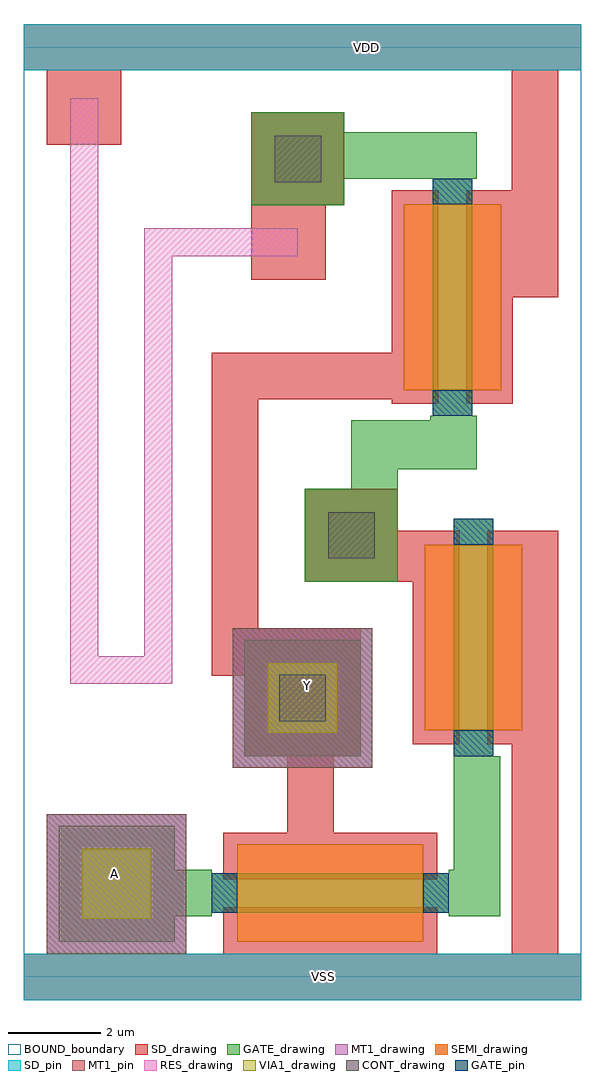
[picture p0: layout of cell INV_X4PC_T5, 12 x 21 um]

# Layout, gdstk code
from math import pi, radians
import gdstk
lib = gdstk.Library(unit=1e-6, precision=1e-09)
def R(c, l, rs):  # rectangles x0, y0, x1, y1
    for r in rs: c.add(gdstk.rectangle(r[:2], r[2:], *l))
def P(c, l, *ps):  # polygons
    for p in ps: c.add(gdstk.Polygon(p, *l))
RES_drawing = (1, 0)
SEMI_drawing = (3, 0)
SD_drawing = (10, 0)
SD_pin = (10, 3)
GATE_drawing = (11, 0)
GATE_pin = (11, 3)
MT1_drawing = (20, 0)
MT1_pin = (20, 3)
CONT_drawing = (30, 0)
VIA1_drawing = (41, 0)
BOUND_boundary = (150, 5)

nch_cdns_772544925370 = lib.new_cell('nch_CDNS_772544925370')
R(nch_cdns_772544925370, SEMI_drawing, [(-1.05,-2,1.05,2)])
R(nch_cdns_772544925370, SD_drawing, [(-1.3,-2.3,-0.3,2.3), (0.3,-2.3,1.3,2.3)])
R(nch_cdns_772544925370, GATE_drawing, [(-0.425,-2.55,0.425,2.55)])
R(nch_cdns_772544925370, GATE_pin, [(-0.425,-2.55,0.425,-2), (-0.425,2,0.425,2.55)])

sd_gate_cdns_77254492537 = lib.new_cell('SD_GATE_CDNS_772544925370')
R(sd_gate_cdns_77254492537, SD_drawing, [(-1,-1,1,1)])
R(sd_gate_cdns_77254492537, GATE_drawing, [(-1,-1,1,1)])
R(sd_gate_cdns_77254492537, CONT_drawing, [(-0.5,-0.5,0.5,0.5)])

c_sd_gate_cdns_77254492537 = lib.new_cell('SD_GATE_CDNS_772544925371')
R(c_sd_gate_cdns_77254492537, SD_drawing, [(-1.25,-1.25,1.25,1.25)])
R(c_sd_gate_cdns_77254492537, GATE_drawing, [(-1.25,-1.25,1.25,1.25)])
R(c_sd_gate_cdns_77254492537, CONT_drawing, [(-0.5,-0.5,0.5,0.5)])

gate_mt1_cdns_7725449253 = lib.new_cell('GATE_MT1_CDNS_772544925372')
R(gate_mt1_cdns_7725449253, GATE_drawing, [(-1.25,-1.25,1.25,1.25)])
R(gate_mt1_cdns_7725449253, MT1_drawing, [(-1.25,-1.25,1.25,1.25)])
R(gate_mt1_cdns_7725449253, VIA1_drawing, [(-0.75,-0.75,0.75,0.75)])

inv_x4pc_t5 = lib.new_cell('INV_X4PC_T5')
R(inv_x4pc_t5, SD_drawing, [(0,-0.5,12,0.5), (10.5,0.5,11.5,9.6), (5.675,3.1,6.675,5.25), (4.05,6.475,5.05,13.425), (4.05,6.475,7.25,7.5), (6.05,8.5,8.375,9.6), (4.05,12.425,7.925,13.425), (10.5,14.625,11.5,19.5), (4.9,15,6.5,16.6), (0.5,17.9,2.1,19.5), (0,19.5,12,20.5)])
R(inv_x4pc_t5, SD_pin, [(0,-0.5,12,0.5), (0,19.5,12,20.5)])
R(inv_x4pc_t5, GATE_drawing, [(7.05,10.925,9.75,11.975)])
P(inv_x4pc_t5, GATE_drawing, [(9.25,1.3),(9.25,2.3),(9.15,2.3),(9.15,2.175),(9.1,2.175),(9.1,1.425),(9.15,1.425),(9.15,1.3)],
  [(3.95,2.3),(3.95,1.3),(4.05,1.3),(4.05,1.425),(4.1,1.425),(4.1,2.175),(4.05,2.175),(4.05,2.3)],
  [(9.25,4.65),(10.25,4.65),(10.25,4.75),(10.05,4.75),(10.05,4.8),(9.3,4.8),(9.3,4.75),(9.25,4.75)],
  [(9.75,17.275),(8.75,17.275),(8.75,17.175),(8.85,17.175),(8.85,17.125),(9.6,17.125),(9.6,17.175),(9.75,17.175)],
  [(9.75,11.975),(8.75,11.975),(8.75,12.075),(8.85,12.075),(8.85,12.125),(9.6,12.125),(9.6,12.075),(9.75,12.075)])
R(inv_x4pc_t5, MT1_drawing, [(0.5,0.5,3.5,3.5), (4.5,4.5,7.5,7.5)])
R(inv_x4pc_t5, MT1_pin, [(0.5,0.5,3.5,3.5), (4.5,4.5,7.5,7.5)])
R(inv_x4pc_t5, BOUND_boundary, [(0,0,12,20)])
inv_x4pc_t5.add(gdstk.FlexPath([(5.9,17.675),(5.9,17.65)], 1, ends="extended", simple_path=True, layer=11, datatype=0))  # GATE_drawing
inv_x4pc_t5.add(gdstk.FlexPath([(9.25,17.675),(5.9,17.675)], 1, ends="extended", simple_path=True, layer=11, datatype=0))  # GATE_drawing
inv_x4pc_t5.add(gdstk.FlexPath([(7.55,10.925),(7.55,9.5)], 1, ends=(0, 0.5), simple_path=True, layer=11, datatype=0))  # GATE_drawing
inv_x4pc_t5.add(gdstk.FlexPath([(3.95,1.8),(3.25,1.8)], 1, ends="flush", simple_path=True, layer=11, datatype=0))  # GATE_drawing
inv_x4pc_t5.add(gdstk.FlexPath([(7.55,9.5),(7.05,9.5)], 1, ends=(0.5, 0), simple_path=True, layer=11, datatype=0))  # GATE_drawing
inv_x4pc_t5.add(gdstk.FlexPath([(9.75,1.3),(9.75,4.65)], 1, ends="flush", simple_path=True, layer=11, datatype=0))  # GATE_drawing
inv_x4pc_t5.add(gdstk.FlexPath([(5.9,15.8),(2.9,15.8),(2.9,6.6),(1.3,6.6),(1.3,18.9)], 0.6, ends="flush", simple_path=True, layer=1, datatype=0))  # RES_drawing
inv_x4pc_t5.add(gdstk.Reference(nch_cdns_772544925370, (9.225,14.625)))
inv_x4pc_t5.add(gdstk.Reference(nch_cdns_772544925370, (6.6,1.8), rotation=pi/2))
inv_x4pc_t5.add(gdstk.Reference(nch_cdns_772544925370, (9.675,7.3), rotation=pi))
inv_x4pc_t5.add(gdstk.Reference(sd_gate_cdns_77254492537, (5.9,17.6)))
inv_x4pc_t5.add(gdstk.Reference(sd_gate_cdns_77254492537, (7.05,9.5)))
inv_x4pc_t5.add(gdstk.Reference(c_sd_gate_cdns_77254492537, (6,6)))
inv_x4pc_t5.add(gdstk.Reference(gate_mt1_cdns_7725449253, (6,6)))
inv_x4pc_t5.add(gdstk.Reference(gate_mt1_cdns_7725449253, (2,2)))
inv_x4pc_t5.add(gdstk.Label('Y', (6.1,6.275), layer=20, texttype=3))
inv_x4pc_t5.add(gdstk.Label('A', (1.95,2.225), layer=20, texttype=3))
inv_x4pc_t5.add(gdstk.Label('VDD', (7.375,20), layer=10, texttype=3))
inv_x4pc_t5.add(gdstk.Label('VSS', (6.45,0), layer=10, texttype=3))

lib.write_gds('INV_X4PC_T5.gds')
